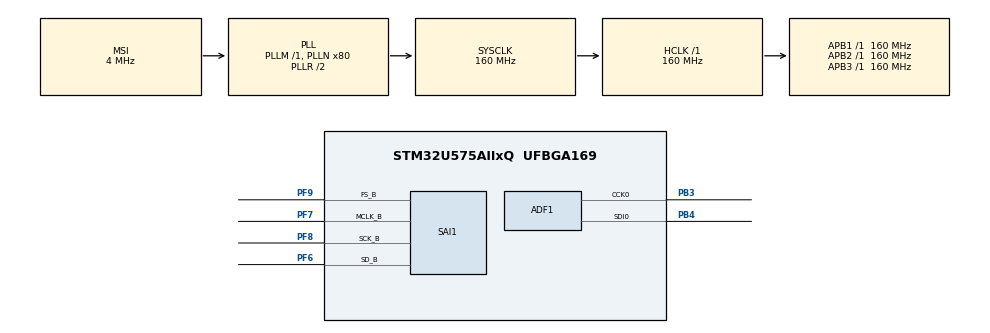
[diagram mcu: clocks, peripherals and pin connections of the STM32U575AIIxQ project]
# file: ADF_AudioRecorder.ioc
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ADF1.MDF_COMPARAM_ActivationOutputClock=ENABLE
ADF1.MDF_COMPARAM_Divider=5
ADF1.MDF_DFLT0_Decimation=51
ADF1.MDF_SITF0_Mode_Display=MDF_SITF_NORMAL_SPI_MODE
ADF1.MDF_SITF0_Threshold=31
CORTEX_M33_NS.userName=CORTEX_M33
GPDMA1.LINKEDLISTMODE_GPDMACH10=DMA_LINKEDLIST_CIRCULAR
GPDMA1.LINKEDLISTMODE_GPDMACH11=DMA_LINKEDLIST_CIRCULAR
GPDMA1.PRIORITY_LL_GPDMACH10=DMA_HIGH_PRIORITY
GPDMA1.PRIORITY_LL_GPDMACH11=DMA_HIGH_PRIORITY
Linkedlist.MDMA_Channel0.GP_SW.0.BlkHWRequest=DMA_BREQ_SINGLE_BURST
Linkedlist.MDMA_Channel0.GP_SW.0.DataHandling=NONE
Linkedlist.MDMA_Channel0.GP_SW.0.DataSize=0
Linkedlist.MDMA_Channel0.GP_SW.0.DestBurstLength=1
Linkedlist.MDMA_Channel0.GP_SW.0.DestDataWidth=DMA_DEST_DATAWIDTH_HALFWORD
Linkedlist.MDMA_Channel0.GP_SW.0.DestInc=DMA_DINC_FIXED
Linkedlist.MDMA_Channel0.GP_SW.0.Direction=DMA_PERIPH_TO_MEMORY
Linkedlist.MDMA_Channel0.GP_SW.0.DstAddress=0
Linkedlist.MDMA_Channel0.GP_SW.0.Instance=MDMA_Channel0
Linkedlist.MDMA_Channel0.GP_SW.0.LL_CIRCULARNODE=NodeTx
Linkedlist.MDMA_Channel0.GP_SW.0.LL_MASTERDMA=GPDMA
Linkedlist.MDMA_Channel0.GP_SW.0.LL_NAME=SAIQueue
Linkedlist.MDMA_Channel0.GP_SW.0.LL_TYPE=CIRCULAR
Linkedlist.MDMA_Channel0.GP_SW.0.NODE_NAME=NodeTx
Linkedlist.MDMA_Channel0.GP_SW.0.Requestforcodegen=GPDMA1_REQUEST_SAI1_B
Linkedlist.MDMA_Channel0.GP_SW.0.SrcAddress=0
Linkedlist.MDMA_Channel0.GP_SW.0.SrcBurstLength=1
Linkedlist.MDMA_Channel0.GP_SW.0.SrcDataWidth=DMA_SRC_DATAWIDTH_HALFWORD
Linkedlist.MDMA_Channel0.GP_SW.0.SrcInc=DMA_SINC_INCREMENTED
Linkedlist.MDMA_Channel0.GP_SW.0.TransferAllocatedPortDest=DMA_DEST_ALLOCATED_PORT0
Linkedlist.MDMA_Channel0.GP_SW.0.TransferAllocatedPortSrc=DMA_SRC_ALLOCATED_PORT0
Linkedlist.MDMA_Channel0.GP_SW.0.TransferEventMode=DMA_TCEM_BLOCK_TRANSFER
Linkedlist.MDMA_Channel0.GP_SW.0.TriggerPolarity=DMA_TRIG_POLARITY_MASKED
Linkedlist.MDMA_Channel0.Request0=GP_SW
Linkedlist.MDMA_Channel0.RequestsNb=1
Linkedlist.MDMA_Channel1.GP_SW.0.BlkHWRequest=DMA_BREQ_SINGLE_BURST
Linkedlist.MDMA_Channel1.GP_SW.0.DataHandling=NONE
Linkedlist.MDMA_Channel1.GP_SW.0.DataSize=0
Linkedlist.MDMA_Channel1.GP_SW.0.DestBurstLength=1
Linkedlist.MDMA_Channel1.GP_SW.0.DestDataWidth=DMA_DEST_DATAWIDTH_HALFWORD
Linkedlist.MDMA_Channel1.GP_SW.0.DestInc=DMA_DINC_INCREMENTED
Linkedlist.MDMA_Channel1.GP_SW.0.Direction=DMA_PERIPH_TO_MEMORY
Linkedlist.MDMA_Channel1.GP_SW.0.DstAddress=0
Linkedlist.MDMA_Channel1.GP_SW.0.Instance=MDMA_Channel1
Linkedlist.MDMA_Channel1.GP_SW.0.LL_CIRCULARNODE=NodeRx
Linkedlist.MDMA_Channel1.GP_SW.0.LL_MASTERDMA=GPDMA
Linkedlist.MDMA_Channel1.GP_SW.0.LL_NAME=MDFQueue
Linkedlist.MDMA_Channel1.GP_SW.0.LL_TYPE=CIRCULAR
Linkedlist.MDMA_Channel1.GP_SW.0.NODE_NAME=NodeRx
Linkedlist.MDMA_Channel1.GP_SW.0.Requestforcodegen=GPDMA1_REQUEST_ADF1_FLT0
Linkedlist.MDMA_Channel1.GP_SW.0.SrcAddress=0
Linkedlist.MDMA_Channel1.GP_SW.0.SrcBurstLength=1
Linkedlist.MDMA_Channel1.GP_SW.0.SrcDataWidth=DMA_SRC_DATAWIDTH_HALFWORD
Linkedlist.MDMA_Channel1.GP_SW.0.SrcInc=DMA_SINC_FIXED
Linkedlist.MDMA_Channel1.GP_SW.0.TransferAllocatedPortDest=DMA_DEST_ALLOCATED_PORT0
Linkedlist.MDMA_Channel1.GP_SW.0.TransferAllocatedPortSrc=DMA_SRC_ALLOCATED_PORT0
Linkedlist.MDMA_Channel1.GP_SW.0.TransferEventMode=DMA_TCEM_BLOCK_TRANSFER
Linkedlist.MDMA_Channel1.GP_SW.0.TriggerPolarity=DMA_TRIG_POLARITY_MASKED
Linkedlist.MDMA_Channel1.Request0=GP_SW
Linkedlist.MDMA_Channel1.RequestsNb=1
Linkedlist.RequestSet0=MDMA_Channel0
Linkedlist.RequestSet1=MDMA_Channel1
Linkedlist.RequestSetsNb=2
Mcu.Family=STM32U5
Mcu.Name=STM32U575AIIxQ
Mcu.Package=UFBGA169
NVIC.GPDMA1_Channel10_IRQn=true\:0\:0\:false\:false\:true\:true\:true\:true
NVIC.GPDMA1_Channel11_IRQn=true\:0\:0\:false\:false\:true\:true\:true\:true
NVIC.PriorityGroup=NVIC_PRIORITYGROUP_4
PB3\ (JTDO/TRACESWO).Mode=MOD_MDF_CCK0
PB3\ (JTDO/TRACESWO).Signal=ADF1_CCK0
PB4\ (NJTRST).Mode=MOD_ADF_CCK
PB4\ (NJTRST).Signal=ADF1_SDI0
PF6.Mode=SAI_B_MasterWithClock
PF6.Signal=SAI1_SD_B
PF7.Mode=SAI_B_MasterWithClock
PF7.Signal=SAI1_MCLK_B
PF8.Mode=SAI_B_MasterWithClock
PF8.Signal=SAI1_SCK_B
PF9.Mode=SAI_B_MasterWithClock
PF9.Signal=SAI1_FS_B
PWR.PowerMode=PWR_SMPS_SUPPLY
ProjectManager.HeapSize=0x200
ProjectManager.StackSize=0x400
ProjectManager.TargetToolchain=EWARM V8.50
RCC.ADCFreq_Value=16000000
RCC.AHBFreq_Value=160000000
RCC.APB1Freq_Value=160000000
RCC.APB1TimFreq_Value=160000000
RCC.APB2Freq_Value=160000000
RCC.APB2TimFreq_Value=160000000
RCC.APB3Freq_Value=160000000
RCC.AdfClockSelection=RCC_ADF1CLKSOURCE_MSIK
RCC.CortexFreq_Value=160000000
RCC.DACCLockSelectionVirtual=RCC_DAC1CLKSOURCE_LSI
RCC.EPOD_VALUE=4000000
RCC.HCLKFreq_Value=160000000
RCC.HSE_VALUE=16000000
RCC.HSI48_VALUE=48000000
RCC.HSI_VALUE=16000000
RCC.LSE_VALUE=32768
RCC.LSIDIV_VALUE=32000
RCC.MSIKClockRange=RCC_MSIKRANGE_3
RCC.MSI_VALUE=4000000
RCC.PLL3FRACN=0
RCC.PLL3N=80
RCC.PLL3P=28
RCC.PLL3Q=28
RCC.PLLN=80
RCC.SAI1CLockSelection=RCC_SAI1CLKSOURCE_PLL3
RCC.SYSCLKFreq_VALUE=160000000
RCC.SYSCLKSource=RCC_SYSCLKSOURCE_PLLCLK
RCC.USBFreq_Value=48000000
RCC.VCOOutputFreq_Value=320000000
SAI1.ActiveFrameLength-SAI_B_MasterWithClock=16
SAI1.AudioFrequency-SAI_B_MasterWithClock=SAI_AUDIO_FREQUENCY_44K
SAI1.DataSize-SAI_B_MasterWithClock=SAI_DATASIZE_16
SAI1.ErrorAudioFreq-SAI_B_MasterWithClock=1.22 %
SAI1.FIFOThreshold-SAI_B_MasterWithClock=SAI_FIFOTHRESHOLD_1QF
SAI1.FSDefinition-SAI_B_MasterWithClock=SAI_FS_CHANNEL_IDENTIFICATION
SAI1.FSOffset-SAI_B_MasterWithClock=SAI_FS_BEFOREFIRSTBIT
SAI1.FrameLength-SAI_B_MasterWithClock=32
SAI1.Instance-SAI_B_MasterWithClock=SAI$Index_Block_B
SAI1.MckOutput-SAI_B_MasterWithClock=SAI_MCK_OUTPUT_ENABLE
SAI1.MonoStereoMode-SAI_B_MasterWithClock=SAI_MONOMODE
SAI1.OutputDrive-SAI_B_MasterWithClock=SAI_OUTPUTDRIVE_ENABLE
SAI1.RealAudioFreq-SAI_B_MasterWithClock=44.642 KHz
SAI1.SlotActive-SAI_B_MasterWithClock=0x00000003
SAI1.VirtualMode-SAI_B_MasterWithClock=VM_MASTER
VP_GPDMA1_VS_GPDMACH10.Mode=LINKEDLIST_GPDMACH10
VP_GPDMA1_VS_GPDMACH11.Mode=LINKEDLIST_GPDMACH11
VP_ICACHE_VS_ICACHE.Mode=DirectMappedCache
VP_LPBAMQUEUE_VS_QUEUE.Mode=QUEUEMODE
VP_LPBAM_VS_SIG1.Mode=SmartRun
VP_LPBAM_VS_SIG4.Mode=LPDMA1
VP_PWR_VS_DBSignals.Mode=DisableDeadBatterySignals
VP_PWR_VS_LPOM.Mode=PowerOptimisation
VP_PWR_VS_SECSignals.Mode=Security/Privilege
board=custom

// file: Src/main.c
/* USER CODE BEGIN Header */
/**
  ******************************************************************************
  * @file           : main.c
  * @brief          : Main program body
  ******************************************************************************
  * @attention
  *
  * Copyright (c) 2021 STMicroelectronics.
  * All rights reserved.
  *
  * This software is licensed under terms that can be found in the LICENSE file
  * in the root directory of this software component.
  * If no LICENSE file comes with this software, it is provided AS-IS.
  *
  ******************************************************************************
  */
/* USER CODE END Header */
#include "main.h"

/* USER CODE BEGIN Includes */
#include "linked_list.h"
/* USER CODE END Includes */

MDF_HandleTypeDef AdfHandle0;
MDF_FilterConfigTypeDef AdfFilterConfig0;

DMA_HandleTypeDef handle_GPDMA1_Channel11;
DMA_HandleTypeDef handle_GPDMA1_Channel10;

SAI_HandleTypeDef hsai_BlockB1;

/* USER CODE BEGIN PV */
MDF_DmaConfigTypeDef         DMAConfig;
CS42L51_Init_t codec_init;
static AUDIO_Drv_t *AudioDrv = NULL;
void *AudioCompObj;

/*Buffer location and size should aligned to cache line size (32 bytes) */
int16_t        RecBuff[REC_BUFF_SIZE * 2U];
__IO uint32_t  DmaRecHalfBuffCplt  = 0;
__IO uint32_t  DmaRecBuffCplt      = 0;
uint32_t       PlaybackStarted         = 0;

__IO int16_t UpdatePointer = -1;
extern DMA_QListTypeDef SAIQueue;
extern DMA_QListTypeDef MDFQueue;
/* USER CODE END PV */

void SystemClock_Config(void);
static void SystemPower_Config(void);
static void MX_GPIO_Init(void);
static void MX_GPDMA1_Init(void);
static void MX_ICACHE_Init(void);
static void MX_SAI1_Init(void);
static void MX_ADF1_Init(void);
/* USER CODE BEGIN PFP */
static void MDF_DMAConfig(void);
static int32_t CS42L51_Probe(void);
static int32_t CS42L51_PowerUp(void);
/* USER CODE END PFP */

int main(void)
{

  /* USER CODE BEGIN 1 */
  /* STM32U5xx HAL library initialization:
       - Configure the Flash prefetch
       - Configure the Systick to generate an interrupt each 1 msec
       - Set NVIC Group Priority to 3
       - Low Level Initialization
     */
  /* USER CODE END 1 */

  /* MCU Configuration--------------------------------------------------------*/

  /* Reset of all peripherals, Initializes the Flash interface and the Systick. */
  HAL_Init();

  /* Configure the System Power */
  SystemPower_Config();

  /* Configure the system clock */
  SystemClock_Config();

  /* Initialize all configured peripherals */
  MX_GPIO_Init();
  MX_GPDMA1_Init();
  MX_ICACHE_Init();
  MX_SAI1_Init();
  MX_ADF1_Init();
  /* USER CODE BEGIN 2 */
  CS42L51_PowerUp();
  CS42L51_Probe();

  /* Fill codec_init structure */
  codec_init.InputDevice  = CS42L51_IN_MIC1;
  codec_init.OutputDevice = CS42L51_OUT_HEADPHONE;
  codec_init.Frequency    = AUDIO_FREQUENCY_44K;
  codec_init.Resolution   = CS42L51_RESOLUTION_16B; /* Not used */
  codec_init.Volume       = 100;

  /* Initialize the codec internal registers */
  if(AudioDrv->Init(AudioCompObj, &codec_init) < 0)
  {
    Error_Handler();
  }
  /* Start the playback */
  if(0 != AudioDrv->Play(AudioCompObj))
  {
    Error_Handler();
  }
  MX_SAIQueue_Config();
  MX_MDFQueue_Config();

  /* Link SAI queue to DMA channel */
  HAL_DMAEx_List_LinkQ(&handle_GPDMA1_Channel10, &SAIQueue);
  /* Link SAI queue to DMA channel */
  HAL_DMAEx_List_LinkQ(&handle_GPDMA1_Channel11, &MDFQueue);

  MDF_DMAConfig();
  if (HAL_MDF_AcqStart_DMA(&AdfHandle0, &AdfFilterConfig0, &DMAConfig) != HAL_OK)
  {
    Error_Handler();
  }
  /* USER CODE END 2 */

  /* Infinite loop */
  while (1)
  {

    /* USER CODE BEGIN 3 */
    if(DmaRecHalfBuffCplt == 1)
    {

      if(PlaybackStarted == 0)
      {

        if(HAL_OK != HAL_SAI_Transmit_DMA(&hsai_BlockB1, (uint8_t *) &RecBuff[0], (REC_BUFF_SIZE * 2U)))
        {
          Error_Handler();
        }
        PlaybackStarted = 1;
      }
      DmaRecHalfBuffCplt  = 0;
    }
    if(DmaRecBuffCplt == 1)
    {
      DmaRecBuffCplt = 0;
    }
  }
  /* USER CODE END 3 */
}

void SystemClock_Config(void)
{
  RCC_OscInitTypeDef RCC_OscInitStruct = {0};
  RCC_ClkInitTypeDef RCC_ClkInitStruct = {0};

  /** Configure the main internal regulator output voltage
  */
  if (HAL_PWREx_ControlVoltageScaling(PWR_REGULATOR_VOLTAGE_SCALE1) != HAL_OK)
  {
    Error_Handler();
  }

  /** Initializes the CPU, AHB and APB buses clocks
  */
  RCC_OscInitStruct.OscillatorType = RCC_OSCILLATORTYPE_MSI|RCC_OSCILLATORTYPE_MSIK;
  RCC_OscInitStruct.MSIState = RCC_MSI_ON;
  RCC_OscInitStruct.MSICalibrationValue = RCC_MSICALIBRATION_DEFAULT;
  RCC_OscInitStruct.MSIClockRange = RCC_MSIRANGE_4;
  RCC_OscInitStruct.MSIKClockRange = RCC_MSIKRANGE_3;
  RCC_OscInitStruct.MSIKState = RCC_MSIK_ON;
  RCC_OscInitStruct.PLL.PLLState = RCC_PLL_ON;
  RCC_OscInitStruct.PLL.PLLSource = RCC_PLLSOURCE_MSI;
  RCC_OscInitStruct.PLL.PLLMBOOST = RCC_PLLMBOOST_DIV1;
  RCC_OscInitStruct.PLL.PLLM = 1;
  RCC_OscInitStruct.PLL.PLLN = 80;
  RCC_OscInitStruct.PLL.PLLP = 2;
  RCC_OscInitStruct.PLL.PLLQ = 2;
  RCC_OscInitStruct.PLL.PLLR = 2;
  RCC_OscInitStruct.PLL.PLLRGE = RCC_PLLVCIRANGE_0;
  RCC_OscInitStruct.PLL.PLLFRACN = 0;
  if (HAL_RCC_OscConfig(&RCC_OscInitStruct) != HAL_OK)
  {
    Error_Handler();
  }

  /** Initializes the CPU, AHB and APB buses clocks
  */
  RCC_ClkInitStruct.ClockType = RCC_CLOCKTYPE_HCLK|RCC_CLOCKTYPE_SYSCLK
                              |RCC_CLOCKTYPE_PCLK1|RCC_CLOCKTYPE_PCLK2
                              |RCC_CLOCKTYPE_PCLK3;
  RCC_ClkInitStruct.SYSCLKSource = RCC_SYSCLKSOURCE_PLLCLK;
  RCC_ClkInitStruct.AHBCLKDivider = RCC_SYSCLK_DIV1;
  RCC_ClkInitStruct.APB1CLKDivider = RCC_HCLK_DIV1;
  RCC_ClkInitStruct.APB2CLKDivider = RCC_HCLK_DIV1;
  RCC_ClkInitStruct.APB3CLKDivider = RCC_HCLK_DIV1;

  if (HAL_RCC_ClockConfig(&RCC_ClkInitStruct, FLASH_LATENCY_4) != HAL_OK)
  {
    Error_Handler();
  }
}

/**
  * @brief Power Configuration
  * @retval None
  */
static void SystemPower_Config(void)
{

  /*
   * Disable the internal Pull-Up in Dead Battery pins of UCPD peripheral
   */
  HAL_PWREx_DisableUCPDDeadBattery();

  /*
   * Switch to SMPS regulator instead of LDO
   */
  if (HAL_PWREx_ConfigSupply(PWR_SMPS_SUPPLY) != HAL_OK)
  {
    Error_Handler();
  }
}

static void MX_ADF1_Init(void)
{

  /**
    AdfHandle0 structure initialization and HAL_MDF_Init function call
  */
  AdfHandle0.Instance = ADF1_Filter0;
  AdfHandle0.Init.CommonParam.ProcClockDivider = 1;
  AdfHandle0.Init.CommonParam.OutputClock.Activation = ENABLE;
  AdfHandle0.Init.CommonParam.OutputClock.Pins = MDF_OUTPUT_CLOCK_0;
  AdfHandle0.Init.CommonParam.OutputClock.Divider = 5;
  AdfHandle0.Init.CommonParam.OutputClock.Trigger.Activation = DISABLE;
  AdfHandle0.Init.SerialInterface.Activation = ENABLE;
  AdfHandle0.Init.SerialInterface.Mode = MDF_SITF_NORMAL_SPI_MODE;
  AdfHandle0.Init.SerialInterface.ClockSource = MDF_SITF_CCK0_SOURCE;
  AdfHandle0.Init.SerialInterface.Threshold = 31;
  AdfHandle0.Init.FilterBistream = MDF_BITSTREAM0_FALLING;
  if (HAL_MDF_Init(&AdfHandle0) != HAL_OK)
  {
    Error_Handler();
  }

  /**
    AdfFilterConfig0 structure initialization

    WARNING : only structure is filled, no specific init function call for filter
  */
  AdfFilterConfig0.DataSource = MDF_DATA_SOURCE_BSMX;
  AdfFilterConfig0.Delay = 0;
  AdfFilterConfig0.CicMode = MDF_ONE_FILTER_SINC4;
  AdfFilterConfig0.DecimationRatio = 51;
  AdfFilterConfig0.Gain = 0;
  AdfFilterConfig0.ReshapeFilter.Activation = DISABLE;
  AdfFilterConfig0.HighPassFilter.Activation = DISABLE;
  AdfFilterConfig0.SoundActivity.Activation = DISABLE;
  AdfFilterConfig0.AcquisitionMode = MDF_MODE_ASYNC_CONT;
  AdfFilterConfig0.FifoThreshold = MDF_FIFO_THRESHOLD_NOT_EMPTY;
  AdfFilterConfig0.DiscardSamples = 0;

}

static void MX_GPDMA1_Init(void)
{

  /* Peripheral clock enable */
  __HAL_RCC_GPDMA1_CLK_ENABLE();

  /* GPDMA1 interrupt Init */
    HAL_NVIC_SetPriority(GPDMA1_Channel10_IRQn, 0, 0);
    HAL_NVIC_EnableIRQ(GPDMA1_Channel10_IRQn);
    HAL_NVIC_SetPriority(GPDMA1_Channel11_IRQn, 0, 0);
    HAL_NVIC_EnableIRQ(GPDMA1_Channel11_IRQn);

  handle_GPDMA1_Channel11.Instance = GPDMA1_Channel11;
  handle_GPDMA1_Channel11.InitLinkedList.Priority = DMA_HIGH_PRIORITY;
  handle_GPDMA1_Channel11.InitLinkedList.LinkStepMode = DMA_LSM_FULL_EXECUTION;
  handle_GPDMA1_Channel11.InitLinkedList.LinkAllocatedPort = DMA_LINK_ALLOCATED_PORT0;
  handle_GPDMA1_Channel11.InitLinkedList.TransferEventMode = DMA_TCEM_LAST_LL_ITEM_TRANSFER;
  handle_GPDMA1_Channel11.InitLinkedList.LinkedListMode = DMA_LINKEDLIST_CIRCULAR;
  if (HAL_DMAEx_List_Init(&handle_GPDMA1_Channel11) != HAL_OK)
  {
    Error_Handler();
  }
  if (HAL_DMA_ConfigChannelAttributes(&handle_GPDMA1_Channel11, DMA_CHANNEL_NPRIV) != HAL_OK)
  {
    Error_Handler();
  }
  handle_GPDMA1_Channel10.Instance = GPDMA1_Channel10;
  handle_GPDMA1_Channel10.InitLinkedList.Priority = DMA_HIGH_PRIORITY;
  handle_GPDMA1_Channel10.InitLinkedList.LinkStepMode = DMA_LSM_FULL_EXECUTION;
  handle_GPDMA1_Channel10.InitLinkedList.LinkAllocatedPort = DMA_LINK_ALLOCATED_PORT0;
  handle_GPDMA1_Channel10.InitLinkedList.TransferEventMode = DMA_TCEM_LAST_LL_ITEM_TRANSFER;
  handle_GPDMA1_Channel10.InitLinkedList.LinkedListMode = DMA_LINKEDLIST_CIRCULAR;
  if (HAL_DMAEx_List_Init(&handle_GPDMA1_Channel10) != HAL_OK)
  {
    Error_Handler();
  }
  if (HAL_DMA_ConfigChannelAttributes(&handle_GPDMA1_Channel10, DMA_CHANNEL_NPRIV) != HAL_OK)
  {
    Error_Handler();
  }
  /* USER CODE BEGIN GPDMA1_Init 2 */
   /* Associate the DMA handle */
    __HAL_LINKDMA(&hsai_BlockB1, hdmatx, handle_GPDMA1_Channel10);
    __HAL_LINKDMA(&AdfHandle0, hdma, handle_GPDMA1_Channel11);
  /* USER CODE END GPDMA1_Init 2 */

}

static void MX_ICACHE_Init(void)
{

  /** Enable instruction cache in 1-way (direct mapped cache)
  */
  if (HAL_ICACHE_ConfigAssociativityMode(ICACHE_1WAY) != HAL_OK)
  {
    Error_Handler();
  }
  if (HAL_ICACHE_Enable() != HAL_OK)
  {
    Error_Handler();
  }

}

static void MX_SAI1_Init(void)
{

  hsai_BlockB1.Instance = SAI1_Block_B;
  hsai_BlockB1.Init.Protocol = SAI_FREE_PROTOCOL;
  hsai_BlockB1.Init.AudioMode = SAI_MODEMASTER_TX;
  hsai_BlockB1.Init.DataSize = SAI_DATASIZE_16;
  hsai_BlockB1.Init.FirstBit = SAI_FIRSTBIT_MSB;
  hsai_BlockB1.Init.ClockStrobing = SAI_CLOCKSTROBING_FALLINGEDGE;
  hsai_BlockB1.Init.Synchro = SAI_ASYNCHRONOUS;
  hsai_BlockB1.Init.OutputDrive = SAI_OUTPUTDRIVE_ENABLE;
  hsai_BlockB1.Init.NoDivider = SAI_MASTERDIVIDER_ENABLE;
  hsai_BlockB1.Init.FIFOThreshold = SAI_FIFOTHRESHOLD_1QF;
  hsai_BlockB1.Init.AudioFrequency = SAI_AUDIO_FREQUENCY_44K;
  hsai_BlockB1.Init.SynchroExt = SAI_SYNCEXT_DISABLE;
  hsai_BlockB1.Init.MckOutput = SAI_MCK_OUTPUT_ENABLE;
  hsai_BlockB1.Init.MonoStereoMode = SAI_MONOMODE;
  hsai_BlockB1.Init.CompandingMode = SAI_NOCOMPANDING;
  hsai_BlockB1.Init.TriState = SAI_OUTPUT_NOTRELEASED;
  hsai_BlockB1.Init.PdmInit.Activation = DISABLE;
  hsai_BlockB1.Init.PdmInit.MicPairsNbr = 1;
  hsai_BlockB1.Init.PdmInit.ClockEnable = SAI_PDM_CLOCK1_ENABLE;
  hsai_BlockB1.FrameInit.FrameLength = 32;
  hsai_BlockB1.FrameInit.ActiveFrameLength = 16;
  hsai_BlockB1.FrameInit.FSDefinition = SAI_FS_CHANNEL_IDENTIFICATION;
  hsai_BlockB1.FrameInit.FSPolarity = SAI_FS_ACTIVE_LOW;
  hsai_BlockB1.FrameInit.FSOffset = SAI_FS_BEFOREFIRSTBIT;
  hsai_BlockB1.SlotInit.FirstBitOffset = 0;
  hsai_BlockB1.SlotInit.SlotSize = SAI_SLOTSIZE_DATASIZE;
  hsai_BlockB1.SlotInit.SlotNumber = 2;
  hsai_BlockB1.SlotInit.SlotActive = 0x00000003;
  if (HAL_SAI_Init(&hsai_BlockB1) != HAL_OK)
  {
    Error_Handler();
  }

}

static void MX_GPIO_Init(void)
{

  /* GPIO Ports Clock Enable */
  __HAL_RCC_GPIOB_CLK_ENABLE();
  __HAL_RCC_GPIOF_CLK_ENABLE();

}

/* USER CODE BEGIN 4 */
/**
  * @brief  MDF DMA configuration
  * @param  None
  * @retval None
  */
static void MDF_DMAConfig(void)
{
  /* Initialize DMA configuration parameters */
  DMAConfig.Address                              = (uint32_t)&RecBuff[0];
  DMAConfig.DataLength                           = (REC_BUFF_SIZE * 4U);
  DMAConfig.MsbOnly                              = ENABLE;
}

/**
  * @brief  Register Bus IOs if component ID is OK
  * @retval error status
  */
static int32_t CS42L51_Probe(void)
{
  int32_t                   ret = BSP_ERROR_NONE;
  CS42L51_IO_t              IOCtx;
  static CS42L51_Object_t   CS42L51Obj;
  uint32_t                  cs42l51_id;

  /* Configure the audio driver */
  IOCtx.Address     = AUDIO_I2C_ADDRESS;
  IOCtx.Init        = BSP_I2C2_Init;
  IOCtx.DeInit      = BSP_I2C2_DeInit;
  IOCtx.ReadReg     = BSP_I2C2_ReadReg;
  IOCtx.WriteReg    = BSP_I2C2_WriteReg;
  IOCtx.GetTick     = BSP_GetTick;

  if(CS42L51_RegisterBusIO (&CS42L51Obj, &IOCtx) != CS42L51_OK)
  {
    ret = BSP_ERROR_BUS_FAILURE;
  }
  else if(CS42L51_ReadID(&CS42L51Obj, &cs42l51_id) != CS42L51_OK)
  {
    ret = BSP_ERROR_COMPONENT_FAILURE;
  }
  else if((cs42l51_id & CS42L51_ID_MASK) != CS42L51_ID)
  {
    ret = BSP_ERROR_UNKNOWN_COMPONENT;
  }
  else
  {
    AudioDrv = (AUDIO_Drv_t *) &CS42L51_Driver;
    AudioCompObj = &CS42L51Obj;
  }

  return ret;
}

/**
  * @brief  Un-reset CS42L51.
  * @param  None.
  * @retval BSP status.
  */
static int32_t CS42L51_PowerUp(void)
{
  int32_t ret = BSP_ERROR_NONE;;

#if (USE_BSP_IO_CLASS == 1)
  BSP_IO_Init_t IO_Init;

  /* Initialize the BSP IO driver and configure the CS42L51 reset pin */
  IO_Init.Pin  = IO_PIN_15;
  IO_Init.Mode = IO_MODE_OUTPUT_PP;
  IO_Init.Pull = IO_PULLDOWN;
  if(BSP_IO_Init(0, &IO_Init) != BSP_ERROR_NONE)
  {
    ret = BSP_ERROR_BUS_FAILURE;
  }
  else if (BSP_IO_WritePin(0, IO_PIN_15, IO_PIN_RESET) != BSP_ERROR_NONE)
  {
    ret = BSP_ERROR_BUS_FAILURE;
  }
  else
  {
    /* Un-reset the CS42L51 */
    HAL_Delay(10);
    if(BSP_IO_WritePin(0, IO_PIN_15, IO_PIN_SET) != BSP_ERROR_NONE)
    {
      ret = BSP_ERROR_BUS_FAILURE;
    }
    else
    {
      HAL_Delay(10);
    }
  }

  /* Wait 1ms according CS42L51 datasheet */
  HAL_Delay(1);
#endif /* USE_BSP_IO_CLASS == 1 */

  return ret;
}

/**
  * @brief  Half regular conversion complete callback.
  * @param  hmdf : MDF andle.
  * @retval None
  */
void HAL_MDF_AcqHalfCpltCallback(MDF_HandleTypeDef *hmdf)
{
    DmaRecHalfBuffCplt = 1;
}

/**
  * @brief  Regular conversion complete callback.
  * @note   In interrupt mode, user has to read conversion value in this function
            using HAL_MDF_GetAcqValue.
  * @param  hmdf : MDF handle.
  * @retval None
  */
void HAL_MDF_AcqCpltCallback(MDF_HandleTypeDef *hmdf)
{
    DmaRecBuffCplt = 1;
}

/* USER CODE END 4 */

void Error_Handler(void)
{
  __disable_irq();
  while (1)
  {
  }
}
